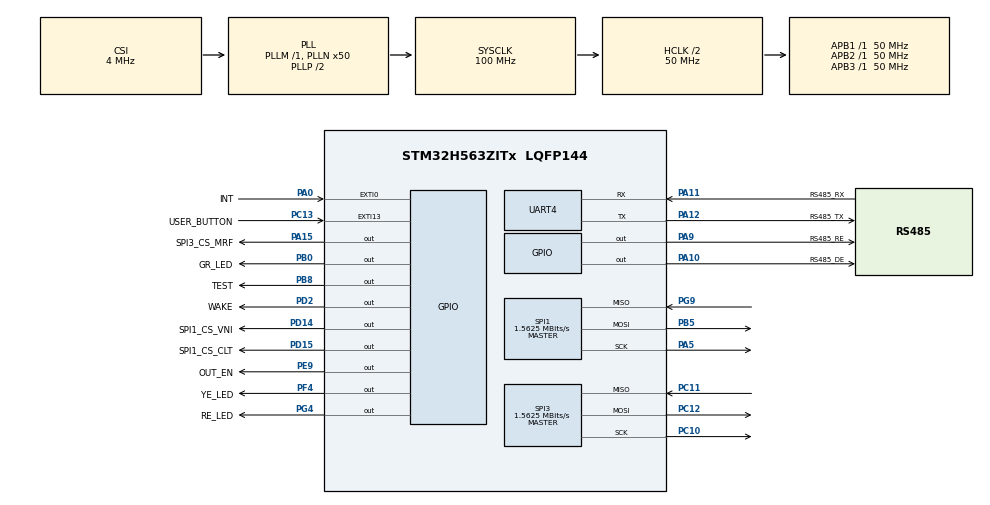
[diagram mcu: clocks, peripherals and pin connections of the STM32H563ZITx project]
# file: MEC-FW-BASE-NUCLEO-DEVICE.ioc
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BOOTPATH.BootPathName=LEGACY
BOOTPATH.UserSelectedBootPath=LEGACY
CORTEX_M33_NS.userName=CORTEX_M33
Mcu.Family=STM32H5
Mcu.Name=STM32H563ZITx
Mcu.Package=LQFP144
NVIC.EXTI0_IRQn=true\:0\:0\:false\:false\:true\:true\:true\:true
NVIC.EXTI13_IRQn=true\:0\:0\:false\:false\:true\:true\:true\:true
NVIC.PriorityGroup=NVIC_PRIORITYGROUP_4
NVIC.TIM6_IRQn=true\:0\:0\:false\:false\:true\:true\:true\:true
PA0.GPIO_Label=INT
PA0.GPIO_ModeDefaultEXTI=GPIO_MODE_IT_FALLING
PA0.Signal=GPXTI0
PA10.GPIO_Label=RS485_DE
PA10.Signal=GPIO_Output
PA11.GPIO_Label=RS485_RX
PA11.Mode=Asynchronous
PA11.Signal=UART4_RX
PA12.GPIO_Label=RS485_TX
PA12.Mode=Asynchronous
PA12.Signal=UART4_TX
PA13(JTMS/SWDIO).Mode=Trace_Asynchronous_SW
PA13(JTMS/SWDIO).Signal=DEBUG_JTMS-SWDIO
PA14(JTCK/SWCLK).Mode=Trace_Asynchronous_SW
PA14(JTCK/SWCLK).Signal=DEBUG_JTCK-SWCLK
PA15(JTDI).GPIO_Label=SPI3_CS_MRF
PA15(JTDI).GPIO_Speed=GPIO_SPEED_FREQ_VERY_HIGH
PA15(JTDI).PinState=GPIO_PIN_SET
PA15(JTDI).Signal=GPIO_Output
PA5.Mode=Full_Duplex_Master
PA5.Signal=SPI1_SCK
PA9.GPIO_Label=RS485_RE
PA9.Signal=GPIO_Output
PB0.GPIO_Label=GR_LED
PB0.Signal=GPIO_Output
PB3(JTDO/TRACESWO).Mode=Trace_Asynchronous_SW
PB3(JTDO/TRACESWO).Signal=DEBUG_JTDO-SWO
PB5.Mode=Full_Duplex_Master
PB5.Signal=SPI1_MOSI
PB8.GPIO_Label=TEST
PB8.Signal=GPIO_Output
PC10.Mode=Full_Duplex_Master
PC10.Signal=SPI3_SCK
PC11.Mode=Full_Duplex_Master
PC11.Signal=SPI3_MISO
PC12.Mode=Full_Duplex_Master
PC12.Signal=SPI3_MOSI
PC13.GPIO_Label=USER_BUTTON
PC13.GPIO_ModeDefaultEXTI=GPIO_MODE_IT_RISING
PC13.Signal=GPXTI13
PD14.GPIO_Label=SPI1_CS_VNI
PD14.PinState=GPIO_PIN_SET
PD14.Signal=GPIO_Output
PD15.GPIO_Label=SPI1_CS_CLT
PD15.PinState=GPIO_PIN_SET
PD15.Signal=GPIO_Output
PD2.GPIO_Label=WAKE
PD2.Signal=GPIO_Output
PE9.GPIO_Label=OUT_EN
PE9.Signal=GPIO_Output
PF4.GPIO_Label=YE_LED
PF4.Signal=GPIO_Output
PG4.GPIO_Label=RE_LED
PG4.Signal=GPIO_Output
PG9.Mode=Full_Duplex_Master
PG9.Signal=SPI1_MISO
ProjectManager.HeapSize=0x200
ProjectManager.StackSize=0x400
ProjectManager.TargetToolchain=STM32CubeIDE
RCC.ADCFreq_Value=50000000
RCC.AHBCLKDivider=RCC_SYSCLK_DIV2
RCC.AHBFreq_Value=50000000
RCC.APB1Freq_Value=50000000
RCC.APB1TimFreq_Value=50000000
RCC.APB2Freq_Value=50000000
RCC.APB2TimFreq_Value=50000000
RCC.APB3Freq_Value=50000000
RCC.CSI_VALUE=4000000
RCC.CortexFreq_Value=50000000
RCC.EPOD_VALUE=4000000
RCC.HCLKFreq_Value=50000000
RCC.HSE_VALUE=25000000
RCC.HSI48_VALUE=48000000
RCC.HSI_VALUE=64000000
RCC.LSE_VALUE=32768
RCC.LSIRC_VALUE=32000
RCC.PLLFRACN=0
RCC.PLLN=50
RCC.SYSCLKFreq_VALUE=100000000
RCC.SYSCLKSource=RCC_SYSCLKSOURCE_PLLCLK
RCC.USBFreq_Value=48000000
RCC.VCOOutputFreq_Value=200000000
SPI1.BaudRatePrescaler=SPI_BAUDRATEPRESCALER_64
SPI1.CalculateBaudRate=1.5625 MBits/s
SPI1.DataSize=SPI_DATASIZE_8BIT
SPI1.Direction=SPI_DIRECTION_2LINES
SPI1.Mode=SPI_MODE_MASTER
SPI1.NSSPMode=SPI_NSS_PULSE_DISABLE
SPI1.VirtualType=VM_MASTER
SPI3.BaudRatePrescaler=SPI_BAUDRATEPRESCALER_64
SPI3.CalculateBaudRate=1.5625 MBits/s
SPI3.DataSize=SPI_DATASIZE_8BIT
SPI3.Direction=SPI_DIRECTION_2LINES
SPI3.Mode=SPI_MODE_MASTER
SPI3.NSSPMode=SPI_NSS_PULSE_DISABLE
SPI3.VirtualType=VM_MASTER
TIM6.PeriodNoDither=500-1
TIM6.Prescaler=50000-1
VP_BOOTPATH_VS_BOOTPATH.Mode=BP_Activate
VP_CORTEX_M33_NS_VS_Hclk.Mode=Hclk_Mode
VP_ICACHE_VS_ENABLE_ICACHE_MEMORY.Mode=Memoryregions
VP_ICACHE_VS_ICACHE.Mode=DirectMappedCache
VP_MEMORYMAP_VS_MEMORYMAP.Mode=CurAppReg
VP_PWR_VS_LPOM.Mode=PowerOptimisation
VP_PWR_VS_SECSignals.Mode=Security/Privilege
VP_TIM6_VS_ClockSourceINT.Mode=Enable_Timer
board=custom

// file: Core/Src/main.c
/* USER CODE BEGIN Header */
/**
  ******************************************************************************
  * @file           : main.c
  * @brief          : Main program body
  ******************************************************************************
  * @attention
  *
  * Copyright (c) 2026 STMicroelectronics.
  * All rights reserved.
  *
  * This software is licensed under terms that can be found in the LICENSE file
  * in the root directory of this software component.
  * If no LICENSE file comes with this software, it is provided AS-IS.
  *
  ******************************************************************************
  */
/* USER CODE END Header */

#include "main.h"

/* USER CODE BEGIN Includes */
#include "swo.h"
#include "mrf24j40.h"
#include "vni8200xp32.h"
#include "sclt38bt8.h"
/* USER CODE END Includes */

/* USER CODE BEGIN PTD */

/**
 * @brief Logical network role assigned to the local MRF24J40 node.
 *
 * @details
 * This role selection determines which nonbeacon MAC configuration helper is
 * applied during task initialization.
 */
typedef enum
{
    MRF24J40_ROLE_DEVICE = 0,
    MRF24J40_ROLE_PAN_COORDINATOR
} mrf24j40_role_t;

/**
 * @brief Static configuration used to initialize the MRF24J40 task.
 *
 * @details
 * This structure contains the minimum configuration required by the task to
 * initialize the low-level driver and assign the local node identity within a
 * nonbeacon-enabled IEEE 802.15.4 network.
 */
typedef struct
{
    uint16_t pan_id;
    uint16_t short_address;
    mrf24j40_role_t role;
} mrf24j40_task_config_t;

/* USER CODE END PTD */

SPI_HandleTypeDef hspi1;
SPI_HandleTypeDef hspi3;
TIM_HandleTypeDef htim6;
UART_HandleTypeDef huart4;

/* USER CODE BEGIN PV */
static mrf24j40_packet_t tx_packet;
static mrf24j40_packet_t rx_packet;
static bool tx_flag;
static mrf24j40_task_config_t radio_cfg;
/* USER CODE END PV */

void SystemClock_Config(void);
static void MX_GPIO_Init(void);
static void MX_ICACHE_Init(void);
static void MX_SPI3_Init(void);
static void MX_TIM6_Init(void);
static void MX_SPI1_Init(void);
static void MX_UART4_Init(void);

/* USER CODE BEGIN PFP */
static void app_init(void);
static void app_task(void);
static void app_build_test_frame(void);
static void app_print_frame(const char *prefix,
                            const uint8_t *frame,
                            uint8_t length);
static void IO_AppInit(void);
static void IO_AppTask(void);
/* USER CODE END PFP */

int main(void)
{

  /* MCU Configuration--------------------------------------------------------*/

  /* Reset of all peripherals, Initializes the Flash interface and the Systick. */
  HAL_Init();

  /* Configure the system clock */
  SystemClock_Config();

  /* Initialize all configured peripherals */
  MX_GPIO_Init();
  MX_ICACHE_Init();
  MX_SPI3_Init();
  MX_TIM6_Init();
  MX_SPI1_Init();
  MX_UART4_Init();

  /* USER CODE BEGIN 2 */

  /* Para toggle del led amarillo */
  //HAL_TIM_Base_Start_IT(&htim6);

  app_init();

  //IO_AppInit();

  /* USER CODE END 2 */

  /* Infinite loop */
  /* USER CODE BEGIN WHILE */
  while (1)
  {
      app_task();

      //IO_AppTask();

    /* USER CODE END WHILE */

  }
}

void SystemClock_Config(void)
{
  RCC_OscInitTypeDef RCC_OscInitStruct = {0};
  RCC_ClkInitTypeDef RCC_ClkInitStruct = {0};

  /** Configure the main internal regulator output voltage
  */
  __HAL_PWR_VOLTAGESCALING_CONFIG(PWR_REGULATOR_VOLTAGE_SCALE3);

  while(!__HAL_PWR_GET_FLAG(PWR_FLAG_VOSRDY)) {}

  /** Initializes the RCC Oscillators according to the specified parameters
  * in the RCC_OscInitTypeDef structure.
  */
  RCC_OscInitStruct.OscillatorType = RCC_OSCILLATORTYPE_CSI;
  RCC_OscInitStruct.CSIState = RCC_CSI_ON;
  RCC_OscInitStruct.CSICalibrationValue = RCC_CSICALIBRATION_DEFAULT;
  RCC_OscInitStruct.PLL.PLLState = RCC_PLL_ON;
  RCC_OscInitStruct.PLL.PLLSource = RCC_PLL1_SOURCE_CSI;
  RCC_OscInitStruct.PLL.PLLM = 1;
  RCC_OscInitStruct.PLL.PLLN = 50;
  RCC_OscInitStruct.PLL.PLLP = 2;
  RCC_OscInitStruct.PLL.PLLQ = 2;
  RCC_OscInitStruct.PLL.PLLR = 2;
  RCC_OscInitStruct.PLL.PLLRGE = RCC_PLL1_VCIRANGE_2;
  RCC_OscInitStruct.PLL.PLLVCOSEL = RCC_PLL1_VCORANGE_WIDE;
  RCC_OscInitStruct.PLL.PLLFRACN = 0;

  if (HAL_RCC_OscConfig(&RCC_OscInitStruct) != HAL_OK)
  {
    Error_Handler();
  }

  /** Initializes the CPU, AHB and APB buses clocks
  */
  RCC_ClkInitStruct.ClockType = RCC_CLOCKTYPE_HCLK|RCC_CLOCKTYPE_SYSCLK
                              |RCC_CLOCKTYPE_PCLK1|RCC_CLOCKTYPE_PCLK2
                              |RCC_CLOCKTYPE_PCLK3;

  RCC_ClkInitStruct.SYSCLKSource = RCC_SYSCLKSOURCE_PLLCLK;
  RCC_ClkInitStruct.AHBCLKDivider = RCC_SYSCLK_DIV2;
  RCC_ClkInitStruct.APB1CLKDivider = RCC_HCLK_DIV1;
  RCC_ClkInitStruct.APB2CLKDivider = RCC_HCLK_DIV1;
  RCC_ClkInitStruct.APB3CLKDivider = RCC_HCLK_DIV1;

  if (HAL_RCC_ClockConfig(&RCC_ClkInitStruct, FLASH_LATENCY_4) != HAL_OK)
  {
    Error_Handler();
  }

  /** Configure the programming delay
  */
  __HAL_FLASH_SET_PROGRAM_DELAY(FLASH_PROGRAMMING_DELAY_2);
}

static void MX_ICACHE_Init(void)
{

  /** Enable instruction cache in 1-way (direct mapped cache)
  */
  if (HAL_ICACHE_ConfigAssociativityMode(ICACHE_1WAY) != HAL_OK)
  {
    Error_Handler();
  }

  if (HAL_ICACHE_Enable() != HAL_OK)
  {
    Error_Handler();
  }

}

static void MX_SPI1_Init(void)
{

  /* SPI1 parameter configuration*/
  hspi1.Instance = SPI1;
  hspi1.Init.Mode = SPI_MODE_MASTER;
  hspi1.Init.Direction = SPI_DIRECTION_2LINES;
  hspi1.Init.DataSize = SPI_DATASIZE_8BIT;
  hspi1.Init.CLKPolarity = SPI_POLARITY_LOW;
  hspi1.Init.CLKPhase = SPI_PHASE_1EDGE;
  hspi1.Init.NSS = SPI_NSS_SOFT;
  hspi1.Init.BaudRatePrescaler = SPI_BAUDRATEPRESCALER_64;
  hspi1.Init.FirstBit = SPI_FIRSTBIT_MSB;
  hspi1.Init.TIMode = SPI_TIMODE_DISABLE;
  hspi1.Init.CRCCalculation = SPI_CRCCALCULATION_DISABLE;
  hspi1.Init.CRCPolynomial = 0x7;
  hspi1.Init.NSSPMode = SPI_NSS_PULSE_DISABLE;
  hspi1.Init.NSSPolarity = SPI_NSS_POLARITY_LOW;
  hspi1.Init.FifoThreshold = SPI_FIFO_THRESHOLD_01DATA;
  hspi1.Init.MasterSSIdleness = SPI_MASTER_SS_IDLENESS_00CYCLE;
  hspi1.Init.MasterInterDataIdleness = SPI_MASTER_INTERDATA_IDLENESS_00CYCLE;
  hspi1.Init.MasterReceiverAutoSusp = SPI_MASTER_RX_AUTOSUSP_DISABLE;
  hspi1.Init.MasterKeepIOState = SPI_MASTER_KEEP_IO_STATE_DISABLE;
  hspi1.Init.IOSwap = SPI_IO_SWAP_DISABLE;
  hspi1.Init.ReadyMasterManagement = SPI_RDY_MASTER_MANAGEMENT_INTERNALLY;
  hspi1.Init.ReadyPolarity = SPI_RDY_POLARITY_HIGH;

  if (HAL_SPI_Init(&hspi1) != HAL_OK)
  {
    Error_Handler();
  }

}

static void MX_SPI3_Init(void)
{

  /* SPI3 parameter configuration*/
  hspi3.Instance = SPI3;
  hspi3.Init.Mode = SPI_MODE_MASTER;
  hspi3.Init.Direction = SPI_DIRECTION_2LINES;
  hspi3.Init.DataSize = SPI_DATASIZE_8BIT;
  hspi3.Init.CLKPolarity = SPI_POLARITY_LOW;
  hspi3.Init.CLKPhase = SPI_PHASE_1EDGE;
  hspi3.Init.NSS = SPI_NSS_SOFT;
  hspi3.Init.BaudRatePrescaler = SPI_BAUDRATEPRESCALER_64;
  hspi3.Init.FirstBit = SPI_FIRSTBIT_MSB;
  hspi3.Init.TIMode = SPI_TIMODE_DISABLE;
  hspi3.Init.CRCCalculation = SPI_CRCCALCULATION_DISABLE;
  hspi3.Init.CRCPolynomial = 0x7;
  hspi3.Init.NSSPMode = SPI_NSS_PULSE_DISABLE;
  hspi3.Init.NSSPolarity = SPI_NSS_POLARITY_LOW;
  hspi3.Init.FifoThreshold = SPI_FIFO_THRESHOLD_01DATA;
  hspi3.Init.MasterSSIdleness = SPI_MASTER_SS_IDLENESS_00CYCLE;
  hspi3.Init.MasterInterDataIdleness = SPI_MASTER_INTERDATA_IDLENESS_00CYCLE;
  hspi3.Init.MasterReceiverAutoSusp = SPI_MASTER_RX_AUTOSUSP_DISABLE;
  hspi3.Init.MasterKeepIOState = SPI_MASTER_KEEP_IO_STATE_DISABLE;
  hspi3.Init.IOSwap = SPI_IO_SWAP_DISABLE;
  hspi3.Init.ReadyMasterManagement = SPI_RDY_MASTER_MANAGEMENT_INTERNALLY;
  hspi3.Init.ReadyPolarity = SPI_RDY_POLARITY_HIGH;

  if (HAL_SPI_Init(&hspi3) != HAL_OK)
  {
    Error_Handler();
  }

}

static void MX_TIM6_Init(void)
{

  TIM_MasterConfigTypeDef sMasterConfig = {0};

  htim6.Instance = TIM6;
  htim6.Init.Prescaler = 50000-1;
  htim6.Init.CounterMode = TIM_COUNTERMODE_UP;
  htim6.Init.Period = 499;
  htim6.Init.AutoReloadPreload = TIM_AUTORELOAD_PRELOAD_DISABLE;

  if (HAL_TIM_Base_Init(&htim6) != HAL_OK)
  {
    Error_Handler();
  }

  sMasterConfig.MasterOutputTrigger = TIM_TRGO_RESET;
  sMasterConfig.MasterSlaveMode = TIM_MASTERSLAVEMODE_DISABLE;

  if (HAL_TIMEx_MasterConfigSynchronization(&htim6, &sMasterConfig) != HAL_OK)
  {
    Error_Handler();
  }

}

static void MX_UART4_Init(void)
{

  huart4.Instance = UART4;
  huart4.Init.BaudRate = 115200;
  huart4.Init.WordLength = UART_WORDLENGTH_8B;
  huart4.Init.StopBits = UART_STOPBITS_1;
  huart4.Init.Parity = UART_PARITY_NONE;
  huart4.Init.Mode = UART_MODE_TX_RX;
  huart4.Init.HwFlowCtl = UART_HWCONTROL_NONE;
  huart4.Init.OverSampling = UART_OVERSAMPLING_16;
  huart4.Init.OneBitSampling = UART_ONE_BIT_SAMPLE_DISABLE;
  huart4.Init.ClockPrescaler = UART_PRESCALER_DIV1;
  huart4.AdvancedInit.AdvFeatureInit = UART_ADVFEATURE_NO_INIT;

  if (HAL_UART_Init(&huart4) != HAL_OK)
  {
    Error_Handler();
  }

  if (HAL_UARTEx_SetTxFifoThreshold(&huart4, UART_TXFIFO_THRESHOLD_1_8) != HAL_OK)
  {
    Error_Handler();
  }

  if (HAL_UARTEx_SetRxFifoThreshold(&huart4, UART_RXFIFO_THRESHOLD_1_8) != HAL_OK)
  {
    Error_Handler();
  }

  if (HAL_UARTEx_DisableFifoMode(&huart4) != HAL_OK)
  {
    Error_Handler();
  }

}

static void MX_GPIO_Init(void)
{
  GPIO_InitTypeDef GPIO_InitStruct = {0};

  /* GPIO Ports Clock Enable */
  __HAL_RCC_GPIOC_CLK_ENABLE();
  __HAL_RCC_GPIOF_CLK_ENABLE();
  __HAL_RCC_GPIOA_CLK_ENABLE();
  __HAL_RCC_GPIOB_CLK_ENABLE();
  __HAL_RCC_GPIOE_CLK_ENABLE();
  __HAL_RCC_GPIOD_CLK_ENABLE();
  __HAL_RCC_GPIOG_CLK_ENABLE();

  /*Configure GPIO pin Output Level */
  HAL_GPIO_WritePin(YE_LED_GPIO_Port, YE_LED_Pin, GPIO_PIN_RESET);

  /*Configure GPIO pin Output Level */
  HAL_GPIO_WritePin(GPIOB, GR_LED_Pin|TEST_Pin, GPIO_PIN_RESET);

  /*Configure GPIO pin Output Level */
  HAL_GPIO_WritePin(OUT_EN_GPIO_Port, OUT_EN_Pin, GPIO_PIN_RESET);

  /*Configure GPIO pin Output Level */
  HAL_GPIO_WritePin(GPIOD, SPI1_CS_VNI_Pin|SPI1_CS_CLT_Pin, GPIO_PIN_SET);

  /*Configure GPIO pin Output Level */
  HAL_GPIO_WritePin(RE_LED_GPIO_Port, RE_LED_Pin, GPIO_PIN_RESET);

  /*Configure GPIO pin Output Level */
  HAL_GPIO_WritePin(GPIOA, RS485_RE_Pin|RS485_DE_Pin, GPIO_PIN_RESET);

  /*Configure GPIO pin Output Level */
  HAL_GPIO_WritePin(SPI3_CS_MRF_GPIO_Port, SPI3_CS_MRF_Pin, GPIO_PIN_SET);

  /*Configure GPIO pin Output Level */
  HAL_GPIO_WritePin(WAKE_GPIO_Port, WAKE_Pin, GPIO_PIN_RESET);

  /*Configure GPIO pin : USER_BUTTON_Pin */
  GPIO_InitStruct.Pin = USER_BUTTON_Pin;
  GPIO_InitStruct.Mode = GPIO_MODE_IT_RISING;
  GPIO_InitStruct.Pull = GPIO_NOPULL;
  HAL_GPIO_Init(USER_BUTTON_GPIO_Port, &GPIO_InitStruct);

  /*Configure GPIO pin : YE_LED_Pin */
  GPIO_InitStruct.Pin = YE_LED_Pin;
  GPIO_InitStruct.Mode = GPIO_MODE_OUTPUT_PP;
  GPIO_InitStruct.Pull = GPIO_NOPULL;
  GPIO_InitStruct.Speed = GPIO_SPEED_FREQ_LOW;
  HAL_GPIO_Init(YE_LED_GPIO_Port, &GPIO_InitStruct);

  /*Configure GPIO pin : INT_Pin */
  GPIO_InitStruct.Pin = INT_Pin;
  GPIO_InitStruct.Mode = GPIO_MODE_IT_FALLING;
  GPIO_InitStruct.Pull = GPIO_NOPULL;
  HAL_GPIO_Init(INT_GPIO_Port, &GPIO_InitStruct);

  /*Configure GPIO pins : GR_LED_Pin TEST_Pin */
  GPIO_InitStruct.Pin = GR_LED_Pin|TEST_Pin;
  GPIO_InitStruct.Mode = GPIO_MODE_OUTPUT_PP;
  GPIO_InitStruct.Pull = GPIO_NOPULL;
  GPIO_InitStruct.Speed = GPIO_SPEED_FREQ_LOW;
  HAL_GPIO_Init(GPIOB, &GPIO_InitStruct);

  /*Configure GPIO pin : OUT_EN_Pin */
  GPIO_InitStruct.Pin = OUT_EN_Pin;
  GPIO_InitStruct.Mode = GPIO_MODE_OUTPUT_PP;
  GPIO_InitStruct.Pull = GPIO_NOPULL;
  GPIO_InitStruct.Speed = GPIO_SPEED_FREQ_LOW;
  HAL_GPIO_Init(OUT_EN_GPIO_Port, &GPIO_InitStruct);

  /*Configure GPIO pins : SPI1_CS_VNI_Pin SPI1_CS_CLT_Pin WAKE_Pin */
  GPIO_InitStruct.Pin = SPI1_CS_VNI_Pin|SPI1_CS_CLT_Pin|WAKE_Pin;
  GPIO_InitStruct.Mode = GPIO_MODE_OUTPUT_PP;
  GPIO_InitStruct.Pull = GPIO_NOPULL;
  GPIO_InitStruct.Speed = GPIO_SPEED_FREQ_LOW;
  HAL_GPIO_Init(GPIOD, &GPIO_InitStruct);

  /*Configure GPIO pin : RE_LED_Pin */
  GPIO_InitStruct.Pin = RE_LED_Pin;
  GPIO_InitStruct.Mode = GPIO_MODE_OUTPUT_PP;
  GPIO_InitStruct.Pull = GPIO_NOPULL;
  GPIO_InitStruct.Speed = GPIO_SPEED_FREQ_LOW;
  HAL_GPIO_Init(RE_LED_GPIO_Port, &GPIO_InitStruct);

  /*Configure GPIO pins : RS485_RE_Pin RS485_DE_Pin */
  GPIO_InitStruct.Pin = RS485_RE_Pin|RS485_DE_Pin;
  GPIO_InitStruct.Mode = GPIO_MODE_OUTPUT_PP;
  GPIO_InitStruct.Pull = GPIO_NOPULL;
  GPIO_InitStruct.Speed = GPIO_SPEED_FREQ_LOW;
  HAL_GPIO_Init(GPIOA, &GPIO_InitStruct);

  /*Configure GPIO pin : SPI3_CS_MRF_Pin */
  GPIO_InitStruct.Pin = SPI3_CS_MRF_Pin;
  GPIO_InitStruct.Mode = GPIO_MODE_OUTPUT_PP;
  GPIO_InitStruct.Pull = GPIO_NOPULL;
  GPIO_InitStruct.Speed = GPIO_SPEED_FREQ_VERY_HIGH;
  HAL_GPIO_Init(SPI3_CS_MRF_GPIO_Port, &GPIO_InitStruct);

  /* EXTI interrupt init*/
  HAL_NVIC_SetPriority(EXTI0_IRQn, 0, 0);
  HAL_NVIC_EnableIRQ(EXTI0_IRQn);

  HAL_NVIC_SetPriority(EXTI13_IRQn, 0, 0);
  HAL_NVIC_EnableIRQ(EXTI13_IRQn);

}

/* USER CODE BEGIN 4 */

static void app_print_frame(const char *prefix,
                            const uint8_t *frame,
                            uint8_t length)
{
    uint8_t i;

    printf("%s", prefix);

    for (i = 0u; i < length; i++)
    {
        printf("%02X", frame[i]);

        if (i < (length - 1u))
        {
            printf(" ");
        }
    }

    printf("\r\n");
}

static void app_init(void)
{
    radio_cfg.pan_id = 0x1234u;
    radio_cfg.short_address = 0x0002u;
    radio_cfg.role = MRF24J40_ROLE_DEVICE;

    (void)mrf24j40_init();

    if (radio_cfg.role == MRF24J40_ROLE_PAN_COORDINATOR)
    {
        (void)mrf24j40_configure_nonbeacon_pan_coordinator();
    }
    else
    {
        (void)mrf24j40_configure_nonbeacon_device();
    }

    (void)mrf24j40_set_pan_id(radio_cfg.pan_id);
    (void)mrf24j40_set_short_address(radio_cfg.short_address);
    (void)mrf24j40_set_extended_address();

    printf("[RADIO] DEVICE READY - PAN: 0x%04X - ADDR: 0x%04X\r\n",
           radio_cfg.pan_id,
           radio_cfg.short_address);
}

static void app_task(void)
{
    mrf24j40_status_t status;
    bool tx_complete;

    /* Verifica interrupciones pendientes */
    (void)mrf24j40_update_interrupt_flags();

    /* Si hay mensaje pendiente, lo lee y procesa */
    status = mrf24j40_read_rx_fifo(&rx_packet);

    if (status == MRF24J40_OK)
    {
        app_print_frame("[RADIO] RX: ",
                        rx_packet.frame,
                        rx_packet.frame_length);

        __NOP();    /* De momento solo se revisa mediante debug a rx_packet */
    }

    /* Verifica si se debe transmitir un paquete */
    if (tx_flag == 1u)
    {
        /* Deshabilita bandera de transmision */
        tx_flag = 0u;

        /* Arma el paquete a transmitir */
        app_build_test_frame();

        app_print_frame("[RADIO] TX: ",
                        tx_packet.frame,
                        tx_packet.frame_length);

        /* Transmite paquete con ACK deshabilitado */
        (void)mrf24j40_write_tx_normal_fifo(&tx_packet, false);
    }

    /* Espera confirmación de transmision */
    status = mrf24j40_get_tx_complete(&tx_complete);

    if ((status == MRF24J40_OK) && (tx_complete == true))
    {
        printf("[RADIO] TX COMPLETE\r\n");
    }
}

static void app_build_test_frame(void)
{
    tx_packet.frame[0] = 0x41u;
    tx_packet.frame[1] = 0x88u;
    tx_packet.frame[2] = 0x01u;
    tx_packet.frame[3] = 0x34u;
    tx_packet.frame[4] = 0x12u;
    tx_packet.frame[5] = 0x01u;
    tx_packet.frame[6] = 0x00u;
    tx_packet.frame[7] = 0x02u;
    tx_packet.frame[8] = 0x00u;
    tx_packet.frame[9]  = 0x01u;
    tx_packet.frame[10] = 0x02u;
    tx_packet.frame[11] = 0x03u;
    tx_packet.frame_length = 12;
}

static void IO_AppInit(void)
{
    HAL_GPIO_WritePin(OUT_EN_GPIO_Port, OUT_EN_Pin, GPIO_PIN_SET);

    printf("[IO] MODULE INITIALIZED\r\n");
    printf("[IO] VNI OUT_EN ENABLED\r\n");
}

static void IO_AppTask(void)
{
    /*
    static uint8_t outputs = 0u;
    uint8_t inputs = 0u;
    sclt38bt8_status_t sclt_status;
    vni8200xp32_status_t vni_status;

    sclt_status = sclt38bt8_read_inputs(&inputs);

    if (sclt_status == SCLT38BT8_OK)
    {
        printf("SCLT inputs: 0x%02X\r\n", inputs);
    }
    else
    {
        printf("SCLT error: %d\r\n", (int)sclt_status);
    }

    vni_status = vni8200xp32_write_outputs(outputs);

    if (vni_status == VNI8200XP32_OK)
    {
        printf("VNI outputs: 0x%02X\r\n", outputs);
    }
    else
    {
        printf("VNI error: %d\r\n", (int)vni_status);
    }

    outputs++;

    if(outputs > 255) outputs = 0;

    HAL_Delay(500);
    */

    vni8200xp32_status_t vni_status;

    for(;;)
    {
        vni_status = vni8200xp32_write_outputs(0xFF);

        HAL_GPIO_WritePin(TEST_GPIO_Port, TEST_Pin, GPIO_PIN_SET);

        if (vni_status != VNI8200XP32_OK)
        {
            printf("[IO] VNI ERROR: %d\r\n", (int)vni_status);
        }

        HAL_Delay(500);

        vni_status = vni8200xp32_write_outputs(0x00);

        HAL_GPIO_WritePin(TEST_GPIO_Port, TEST_Pin, GPIO_PIN_RESET);

        if (vni_status != VNI8200XP32_OK)
        {
            printf("[IO] VNI ERROR: %d\r\n", (int)vni_status);
        }

        HAL_Delay(500);
    }
}

void HAL_GPIO_EXTI_Falling_Callback(uint16_t GPIO_Pin)
{
    if (GPIO_Pin == INT_Pin)
    {
        mrf24j40_set_interrupt_pending();

        printf("[RADIO] IRQ\r\n");
    }
}

void HAL_GPIO_EXTI_Rising_Callback(uint16_t GPIO_Pin)
{
    if (GPIO_Pin == USER_BUTTON_Pin)
    {
        HAL_GPIO_TogglePin(GR_LED_GPIO_Port, GR_LED_Pin);

        tx_flag = 1u;
    }
}

void HAL_TIM_PeriodElapsedCallback(TIM_HandleTypeDef *htim)
{
    if(htim->Instance == TIM6)
    {
        HAL_GPIO_TogglePin(YE_LED_GPIO_Port, YE_LED_Pin);
    }
}

/* USER CODE END 4 */

void Error_Handler(void)
{
  __disable_irq();
  while (1)
  {
  }
}
